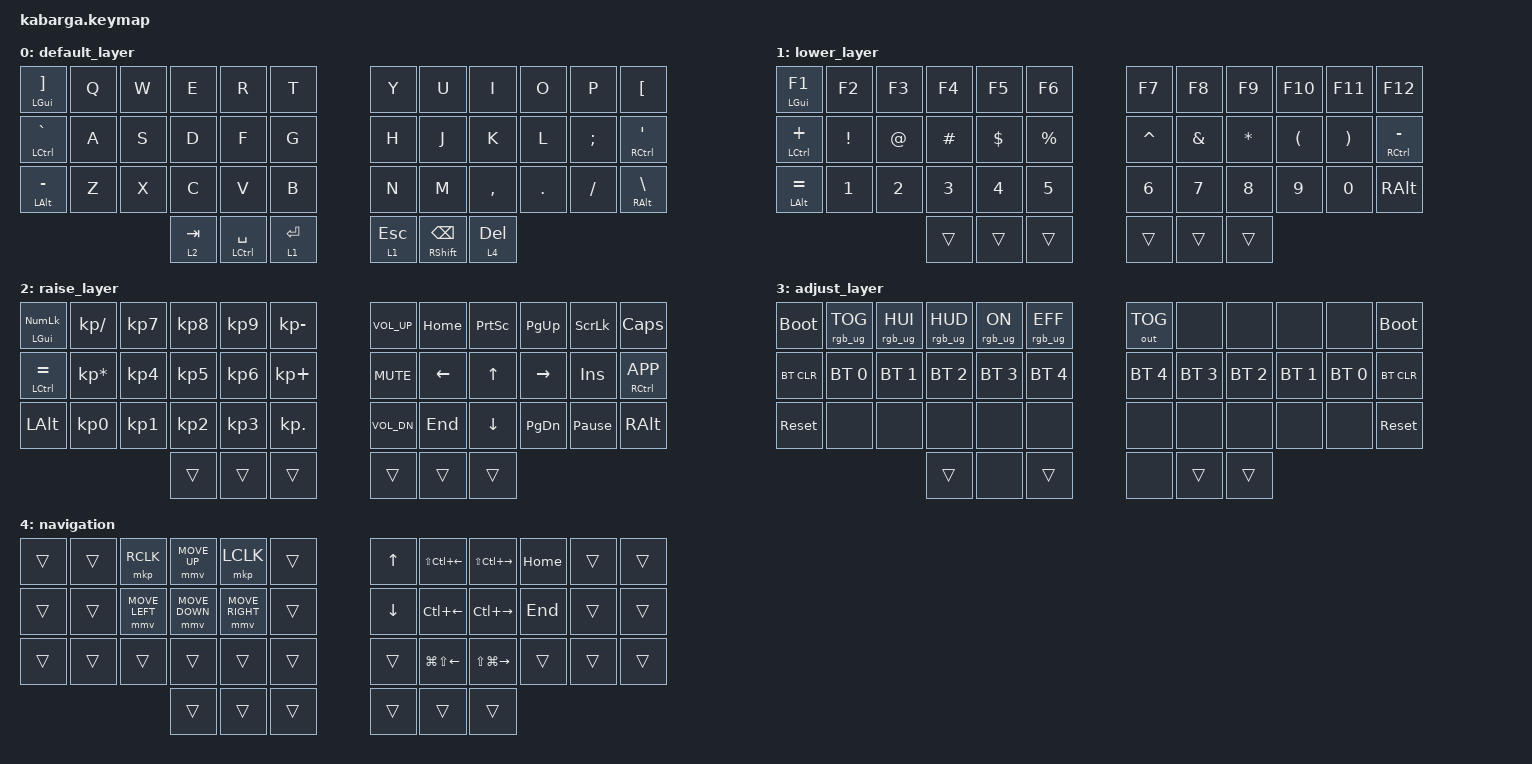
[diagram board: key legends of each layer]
/*
 * Copyright (c) 2020 The ZMK Contributors
 *
 * SPDX-License-Identifier: MIT
 */

#include <behaviors.dtsi>
#include <dt-bindings/zmk/bt.h>
#include <dt-bindings/zmk/keys.h>
#include <dt-bindings/zmk/outputs.h>
#include <dt-bindings/zmk/pointing.h>
#include <dt-bindings/zmk/rgb.h>

#define DEF 0
#define LWR 1
#define RSE 2
#define ADJ 3

&lt { quick-tap-ms = <200>; };

&mt { quick-tap-ms = <200>; };

/ {
    conditional_layers {
        compatible = "zmk,conditional-layers";

        tri-layer {
            if-layers = <1 2>;
            then-layer = <3>;
        };

        tri-layer1 {
            if-layers = <4 1>;
            then-layer = <3>;
        };
    };

    combos {
        compatible = "zmk,combos";

        lctrl {
            bindings = <&kp LCTRL>;
            key-positions = <38 37>;
        };
    };

    keymap {
        compatible = "zmk,keymap";

        default_layer {
            bindings = <
&mt LGUI RBKT    &kp Q  &kp W  &kp E      &kp R            &kp T      &kp Y  &kp U      &kp I           &kp O      &kp P     &kp LBKT
&mt LCTRL GRAVE  &kp A  &kp S  &kp D      &kp F            &kp G      &kp H  &kp J      &kp K           &kp L      &kp SEMI  &mt RCTRL SQT
&mt LALT MINUS   &kp Z  &kp X  &kp C      &kp V            &kp B      &kp N  &kp M      &kp COMMA       &kp DOT    &kp FSLH  &mt RALT BSLH
                               &lt 2 TAB  &mt LCTRL SPACE  &lt 1 RET         &lt 1 ESC  &mt RSHFT BSPC  &lt 4 DEL
            >;
        };

        lower_layer {
            bindings = <
&mt LGUI F1     &kp F2    &kp F3  &kp F4    &kp F5    &kp F6     &kp F7     &kp F8    &kp F9    &kp F10   &kp F11   &kp F12
&mt LCTRL PLUS  &kp EXCL  &kp AT  &kp HASH  &kp DLLR  &kp PRCNT  &kp CARET  &kp AMPS  &kp STAR  &kp LPAR  &kp RPAR  &mt RCTRL MINUS
&mt LALT EQUAL  &kp N1    &kp N2  &kp N3    &kp N4    &kp N5     &kp N6     &kp N7    &kp N8    &kp N9    &kp N0    &kp RALT
                                  &trans    &trans    &trans                &trans    &trans    &trans
            >;
        };

        raise_layer {
            bindings = <
&mt LGUI KP_NUM  &kp KP_SLASH     &kp KP_N7  &kp KP_N8  &kp KP_N9  &kp KP_MINUS  &kp C_VOL_UP  &kp HOME  &kp PSCRN  &kp PG_UP  &kp SLCK         &kp CLCK
&mt LCTRL EQUAL  &kp KP_MULTIPLY  &kp KP_N4  &kp KP_N5  &kp KP_N6  &kp KP_PLUS   &kp C_MUTE    &kp LEFT  &kp UP     &kp RIGHT  &kp INS          &mt RCTRL K_APP
&kp LALT         &kp KP_N0        &kp KP_N1  &kp KP_N2  &kp KP_N3  &kp KP_DOT    &kp C_VOL_DN  &kp END   &kp DOWN   &kp PG_DN  &kp PAUSE_BREAK  &kp RALT
                                             &trans     &trans     &trans                      &trans    &trans     &trans
            >;
        };

        adjust_layer {
            bindings = <
&bootloader  &rgb_ug RGB_TOG  &rgb_ug RGB_HUI  &rgb_ug RGB_HUD  &rgb_ug RGB_ON  &rgb_ug RGB_EFF  &out OUT_TOG  &none         &none         &none         &none         &bootloader
&bt BT_CLR   &bt BT_SEL 0     &bt BT_SEL 1     &bt BT_SEL 2     &bt BT_SEL 3    &bt BT_SEL 4     &bt BT_SEL 4  &bt BT_SEL 3  &bt BT_SEL 2  &bt BT_SEL 1  &bt BT_SEL 0  &bt BT_CLR
&sys_reset   &none            &none            &none            &none           &none            &none         &none         &none         &none         &none         &sys_reset
                                               &trans           &none           &trans                         &none         &trans        &trans
            >;
        };

        navigation {
            bindings = <
&trans  &trans  &mkp RCLK       &mmv MOVE_UP    &mkp LCLK        &trans  &kp UP    &kp LS(LC(LEFT_ARROW))  &kp LS(LC(RIGHT))  &kp HOME  &trans  &trans
&trans  &trans  &mmv MOVE_LEFT  &mmv MOVE_DOWN  &mmv MOVE_RIGHT  &trans  &kp DOWN  &kp LC(LEFT)            &kp LC(RIGHT)      &kp END   &trans  &trans
&trans  &trans  &trans          &trans          &trans           &trans  &trans    &kp LG(LS(LEFT))        &kp LS(LG(RIGHT))  &trans    &trans  &trans
                                &trans          &trans           &trans            &trans                  &trans             &trans
            >;
        };
    };
};
